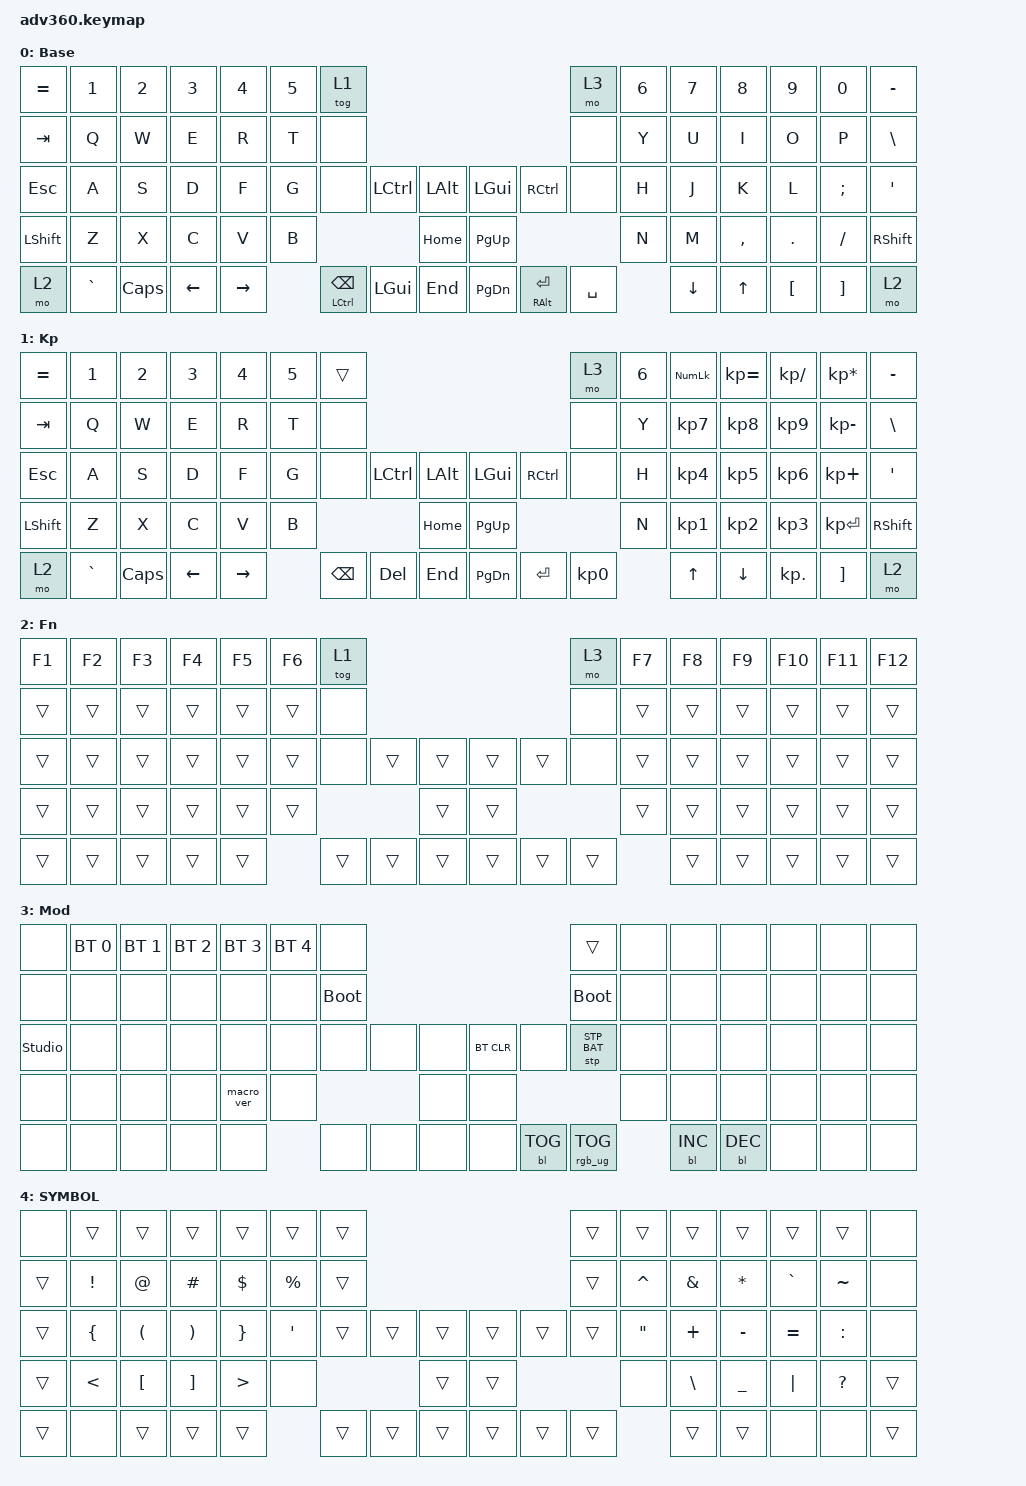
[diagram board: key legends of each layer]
#include <dt-bindings/zmk/stp.h>
#include <behaviors.dtsi>
#include <dt-bindings/zmk/backlight.h>
#include <dt-bindings/zmk/bt.h>
#include <dt-bindings/zmk/keys.h>
#include <dt-bindings/zmk/rgb.h>

/ {
    behaviors {
        #include "macros.dtsi"
      #include "version.dtsi"

        hm: homerow_mods {
            compatible = "zmk,behavior-hold-tap";
            label = "HOMEROW_MODS";
            #binding-cells = <2>;
            tapping-term-ms = <200>;
            quick_tap_ms = <175>;
            flavor = "tap-preferred";
            bindings = <&kp>, <&kp>;
        };

        HMShiftR: HMShiftR {
            compatible = "zmk,behavior-hold-tap";
            label = "HMSHIFTR";
            bindings = <&kp>, <&kp>;

            #binding-cells = <2>;
            tapping-term-ms = <200>;
            hold-while-undecided;
            hold-trigger-key-positions = <0 1 2 3 4 5 6 14 15 16 17 18 19 20 28 29 30 31 32 33 34 35 36 46 47 48 49 50 51 52 60 61 62 63 64 65 66 67>;
            hold-trigger-on-release;
        };

        HMShiftL: HMShiftL {
            compatible = "zmk,behavior-hold-tap";
            label = "HMSHIFTL";
            bindings = <&kp>, <&kp>;

            #binding-cells = <2>;
            tapping-term-ms = <200>;
            hold-while-undecided;
            hold-trigger-on-release;
            hold-trigger-key-positions = <7 8 9 10 11 12 13 21 22 23 24 25 26 27 37 38 39 40 41 42 43 44 45 53 54 55 56 57 58 59 68 69 70 71 72 73 74 75>;
        };

        HMR: HMR {
            compatible = "zmk,behavior-hold-tap";
            label = "HMR";
            bindings = <&kp>, <&kp>;

            #binding-cells = <2>;
            tapping-term-ms = <200>;
            hold-while-undecided;
            hold-trigger-key-positions = <0 1 2 3 4 5 6 14 15 16 17 18 19 20 28 29 30 31 32 33 34 35 36 46 47 48 49 50 51 52 60 61 62 63 64 65 66 67>;
            hold-trigger-on-release;
            flavor = "tap-preferred";
        };

        HML: HML {
            compatible = "zmk,behavior-hold-tap";
            label = "HML";
            bindings = <&kp>, <&kp>;

            #binding-cells = <2>;
            tapping-term-ms = <200>;
            hold-while-undecided;
            hold-trigger-on-release;
            hold-trigger-key-positions = <7 8 9 10 11 12 13 21 22 23 24 25 26 27 37 38 39 40 41 42 43 44 45 53 54 55 56 57 58 59 68 69 70 71 72 73 74 75>;
            flavor = "tap-preferred";
        };
    };

    combos { compatible = "zmk,combos"; };

    keymap {
        compatible = "zmk,keymap";

        default_layer {
            display-name = "Base";
            bindings = <
&kp EQUAL  &kp N1     &kp N2    &kp N3    &kp N4     &kp N5  &tog 1                                                                             &mo 3      &kp N6  &kp N7    &kp N8     &kp N9    &kp N0         &kp MINUS
&kp TAB    &kp Q      &kp W     &kp E     &kp R      &kp T   &none                                                                              &none      &kp Y   &kp U     &kp I      &kp O     &kp P          &kp BSLH
&kp ESC    &kp A      &kp S     &kp D     &kp F      &kp G   &none                  &kp LCTRL     &kp LALT      &kp LGUI   &kp RCTRL            &none      &kp H   &kp J     &kp K      &kp L     &kp SEMICOLON  &kp SQT
&kp LSHFT  &kp Z      &kp X     &kp C     &kp V      &kp B                                        &kp HOME      &kp PG_UP                                  &kp N   &kp M     &kp COMMA  &kp DOT   &kp FSLH       &kp RSHFT
&mo 2      &kp GRAVE  &kp CAPS  &kp LEFT  &kp RIGHT          &mt LEFT_CONTROL BSPC  &kp LEFT_GUI  &kp END       &kp PG_DN  &mt RIGHT_ALT ENTER  &kp SPACE          &kp DOWN  &kp UP     &kp LBKT  &kp RBKT       &mo 2
            >;
        };

        keypad {
            display-name = "Kp";
            bindings = <
&kp EQUAL  &kp N1     &kp N2    &kp N3    &kp N4     &kp N5  &trans                                                   &mo 3      &kp N6  &kp KP_NUM  &kp KP_EQUAL  &kp KP_DIVIDE  &kp KP_MULTIPLY  &kp MINUS
&kp TAB    &kp Q      &kp W     &kp E     &kp R      &kp T   &none                                                    &none      &kp Y   &kp KP_N7   &kp KP_N8     &kp KP_N9      &kp KP_MINUS     &kp BSLH
&kp ESC    &kp A      &kp S     &kp D     &kp F      &kp G   &none     &kp LCTRL  &kp LALT      &kp LGUI   &kp RCTRL  &none      &kp H   &kp KP_N4   &kp KP_N5     &kp KP_N6      &kp KP_PLUS      &kp SQT
&kp LSHFT  &kp Z      &kp X     &kp C     &kp V      &kp B                        &kp HOME      &kp PG_UP                        &kp N   &kp KP_N1   &kp KP_N2     &kp KP_N3      &kp KP_ENTER     &kp RSHFT
&mo 2      &kp GRAVE  &kp CAPS  &kp LEFT  &kp RIGHT          &kp BSPC  &kp DEL    &kp END       &kp PG_DN  &kp ENTER  &kp KP_N0          &kp UP      &kp DOWN      &kp KP_DOT     &kp RBKT         &mo 2
            >;
        };

        fn {
            display-name = "Fn";
            bindings = <
&kp F1  &kp F2  &kp F3  &kp F4  &kp F5  &kp F6  &tog 1                                      &mo 3   &kp F7  &kp F8  &kp F9  &kp F10  &kp F11  &kp F12
&trans  &trans  &trans  &trans  &trans  &trans  &none                                       &none   &trans  &trans  &trans  &trans   &trans   &trans
&trans  &trans  &trans  &trans  &trans  &trans  &none   &trans  &trans      &trans  &trans  &none   &trans  &trans  &trans  &trans   &trans   &trans
&trans  &trans  &trans  &trans  &trans  &trans                  &trans      &trans                  &trans  &trans  &trans  &trans   &trans   &trans
&trans  &trans  &trans  &trans  &trans          &trans  &trans  &trans      &trans  &trans  &trans          &trans  &trans  &trans   &trans   &trans
            >;
        };

        mod {
            display-name = "Mod";
            bindings = <
&none           &bt BT_SEL 0  &bt BT_SEL 1  &bt BT_SEL 2  &bt BT_SEL 3  &bt BT_SEL 4  &none                                                  &trans           &none  &none       &none       &none  &none  &none
&none           &none         &none         &none         &none         &none         &bootloader                                            &bootloader      &none  &none       &none       &none  &none  &none
&studio_unlock  &none         &none         &none         &none         &none         &none        &none  &none      &bt BT_CLR  &none       &stp STP_BAT     &none  &none       &none       &none  &none  &none
&none           &none         &none         &none         &macro_ver    &none                             &none      &none                                    &none  &none       &none       &none  &none  &none
&none           &none         &none         &none         &none                       &none        &none  &none      &none       &bl BL_TOG  &rgb_ug RGB_TOG         &bl BL_INC  &bl BL_DEC  &none  &none  &none
            >;
        };

        SYMBOL {
            bindings = <
&none   &trans           &trans                &trans                 &trans            &trans            &trans                                      &trans  &trans             &trans         &trans          &trans     &trans        &none
&trans  &kp EXCLAMATION  &kp AT_SIGN           &kp POUND              &kp DOLLAR        &kp PERCENT       &trans                                      &trans  &kp CARET          &kp AMPERSAND  &kp ASTERISK    &kp GRAVE  &kp TILDE     &none
&trans  &kp LEFT_BRACE   &kp LEFT_PARENTHESIS  &kp RIGHT_PARENTHESIS  &kp RIGHT_BRACE   &kp SINGLE_QUOTE  &trans  &trans  &trans      &trans  &trans  &trans  &kp DOUBLE_QUOTES  &kp PLUS       &kp MINUS       &kp EQUAL  &kp COLON     &none
&trans  &kp LESS_THAN    &kp LEFT_BRACKET      &kp RIGHT_BRACKET      &kp GREATER_THAN  &none                             &trans      &trans                  &none              &kp BACKSLASH  &kp UNDERSCORE  &kp PIPE   &kp QUESTION  &trans
&trans  &none            &trans                &trans                 &trans                              &trans  &trans  &trans      &trans  &trans  &trans                     &trans         &trans          &none      &none         &trans
            >;
        };
    };
};
